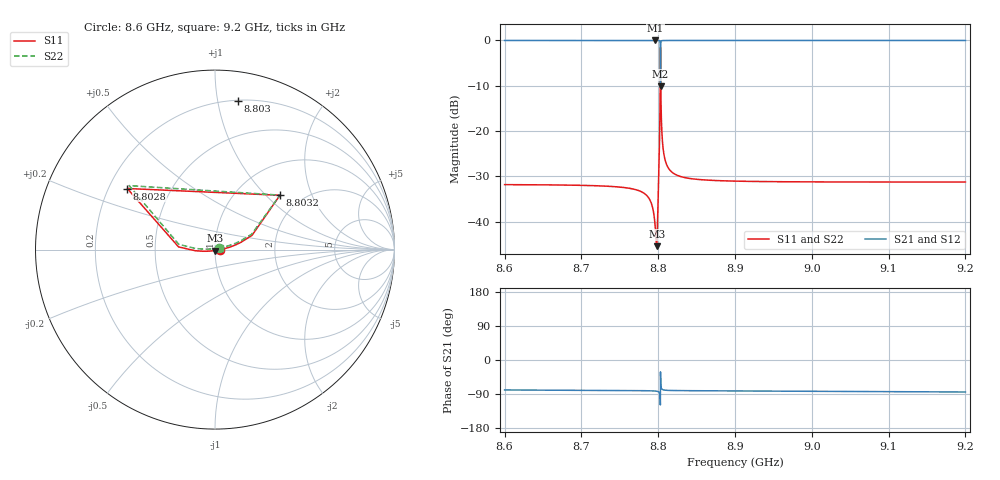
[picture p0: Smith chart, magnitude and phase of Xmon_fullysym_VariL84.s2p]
! Sonnet Data File
! From: emgraph Version : 16.52
! From Project: 171117_Xmon_fullysym
! Data is De-embedded
! Data File Written: 11/26/2017 21:44:45
!< HDATE 11/26/2017 17:24:49
!< MDATE 11/26/2017 17:24:49
!< PARAMS
!< Lj = 11.0
!< Gap = 1.0
!< Pwid = 2000.0
!< Airgap = 6.0
!< Width = 10.0
!< Lj1 = 8.4
!< END PARAMS
# GHZ S MA R 50.90000
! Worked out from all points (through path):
!   3001 points, 8.6 GHz to 9.2 GHz, reference 50.9 ohm
!   highest |S21| = 0.00 dB at 8.7964 GHz (marker M1); lowest = -10.1 dB at 8.803 GHz (marker M2)
!   lowest |S11| = -45.4 dB at 8.798 GHz (marker M3), VSWR 1.01, Z = 50.9 - j0.546 ohm
!   |S11| at or under -10 dB: start of sweep to 8.8026 GHz; 8.8034 GHz to end of sweep
!   |S22| runs from -45.1 to -1.5 dB; largest |S21 - S12| = 2.4e-11
!   S11 on the Smith chart (normalised r, x): 8.6 GHz: 1.05, -0.00; 8.8028 GHz: 0.28, +0.29; 8.803 GHz: 0.21, +1.14; 8.8032 GHz: 1.56, +1.21; 9.2 GHz: 1.06, -0.01
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8.6  0.02564 -0.3  0.9997 -79.0  0.9997 -79.0  0.02564 22.3
!< P1 F=8.6 Eeff=(6.44845572 -2.9799e-5) Z0=(50.9087207 1.17006e-4) R=0.0 C=0.0
!< P2 F=8.6 Eeff=(6.44845572 -2.9799e-5) Z0=(50.9087207 1.17006e-4) R=0.0 C=0.0
8.7  0.02519 -1.7  0.9997 -80.0  0.9997 -80.0  0.02519 21.8
8.7794  0.02114 -5.3  0.9998 -80.9  0.9998 -80.9  0.02115 23.4
8.7904  0.01651 -10.0  0.9998 -81.3  0.9998 -81.3  0.01652 27.5
8.7964  0.008117 -33.1  0.9999 -81.9  0.9999 -81.9  0.008197 49.8
8.798  0.005369 -85.8  0.9999 -82.3  0.9999 -82.3  0.005574 101.0
8.7992  0.01027 -141.3  0.9998 -82.8  0.9998 -82.8  0.01046 154.1
8.8002  0.02205 -159.5  0.9994 -83.5  0.9994 -83.5  0.02221 170.8
8.8016  0.07035 -172.5  0.9962 -86.3  0.9962 -86.3  0.07056 177.6
8.8028  0.5956 145.1  0.7318 -118.6  0.7318 -118.6  0.5966 143.3
8.803  0.8377 81.2  0.3133 -31.5  0.3133 -31.5  0.839 80.4
8.8032  0.4718 39.9  0.8478 -54.2  0.8478 -54.2  0.4724 40.0
8.805  0.08966 10.2  0.9954 -77.2  0.9954 -77.2  0.08973 16.1
8.806  0.06897 7.8  0.9973 -78.4  0.9973 -78.4  0.06901 15.8
8.8072  0.05697 6.1  0.9982 -79.1  0.9982 -79.1  0.057 16.0
8.81  0.04487 3.8  0.9989 -79.8  0.9989 -79.8  0.04488 16.7
8.8198  0.03422 0.8  0.9994 -80.5  0.9994 -80.5  0.03423 18.1
8.8442  0.02974 -1.2  0.9996 -81.0  0.9996 -81.0  0.02974 19.1
8.9002  0.02803 -2.6  0.9996 -81.7  0.9996 -81.7  0.02803 19.3
9.0002  0.02749 -4.0  0.9996 -82.6  0.9996 -82.6  0.0275 18.7
9.1  0.0274 -5.1  0.9996 -83.5  0.9996 -83.5  0.0274 18.1
9.2  0.0274 -6.3  0.9996 -84.5  0.9996 -84.5  0.02741 17.4
